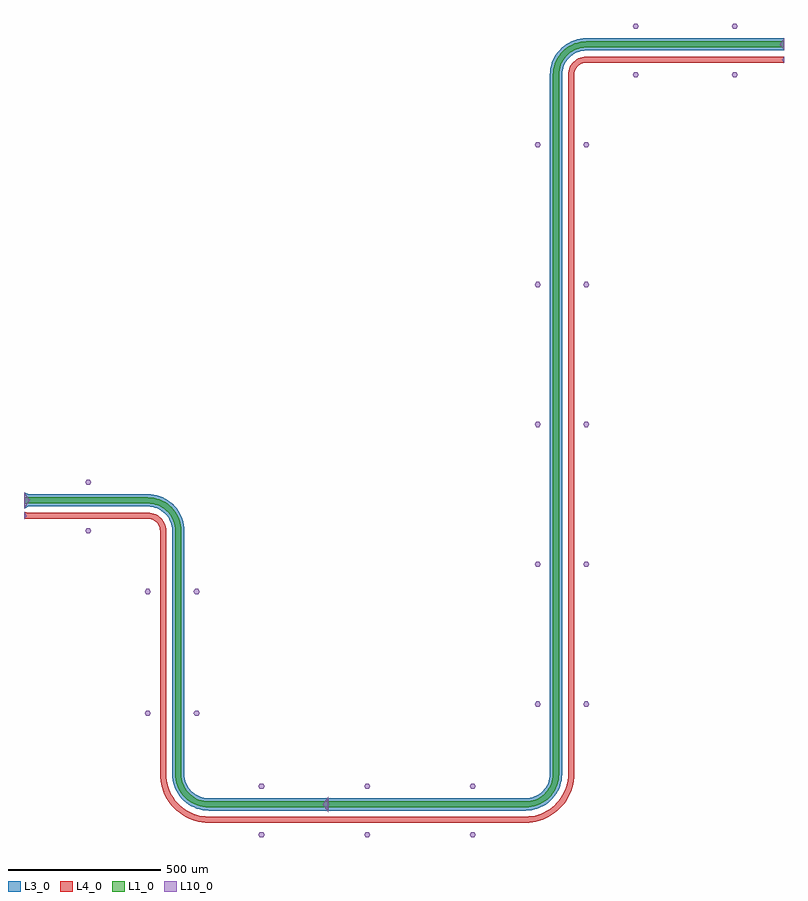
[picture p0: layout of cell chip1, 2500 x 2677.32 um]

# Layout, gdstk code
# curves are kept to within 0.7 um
import gdstk
lib = gdstk.Library(unit=1e-6, precision=1e-09)
def P(c, l, *ps):  # polygons
    for p in ps: c.add(gdstk.Polygon(p, *l))
L1_0 = (1, 0)
L3_0 = (3, 0)
L4_0 = (4, 0)
L10_0 = (10, 0)

chip1 = lib.new_cell('chip1')
P(chip1, L1_0, [(-500,512.5),(-485,510),(-485,490),(-500,487.5)],
  [(-485,510),(-485,490),(-92.5,490),(-75.963,488.468),(-59.988,483.923),(-45.121,476.52),(-38.263,471.822),(-25.989,460.633),(-15.98,447.379),(-11.935,440.116),(-8.577,432.512),(-4.032,416.537),(-2.5,400),(-2.081,-409.587),(1.248,-428.47),(7.806,-446.488),(12.237,-455),(23.235,-470.707),(29.718,-477.782),(36.793,-484.265),(52.5,-495.263),(61.012,-499.694),(79.03,-506.252),(88.399,-508.329),(107.5,-510),(1150,-510),(1169.101,-508.329),(1178.47,-506.252),(1196.488,-499.694),(1205,-495.263),(1220.707,-484.265),(1227.782,-477.782),(1234.265,-470.707),(1245.263,-455),(1249.694,-446.488),(1256.252,-428.47),(1258.329,-419.101),(1260,-400),(1260,1900),(1261.532,1916.537),(1263.436,1924.63),(1266.077,1932.512),(1273.48,1947.379),(1283.489,1960.633),(1289.367,1966.511),(1302.621,1976.52),(1317.488,1983.923),(1333.463,1988.468),(1341.696,1989.616),(2000,1990),(2000,2010),(1340.413,2009.581),(1321.53,2006.252),(1303.512,1999.694),(1295,1995.263),(1279.293,1984.265),(1265.735,1970.707),(1259.893,1963.093),(1250.306,1946.488),(1246.634,1937.622),(1241.671,1919.101),(1240,1900),(1240,-400),(1238.468,-416.537),(1236.564,-424.63),(1233.923,-432.512),(1226.52,-447.379),(1216.511,-460.633),(1210.633,-466.511),(1197.379,-476.52),(1182.512,-483.923),(1174.63,-486.564),(1166.537,-488.468),(1150,-490),(107.5,-490),(90.963,-488.468),(82.87,-486.564),(74.988,-483.923),(60.121,-476.52),(46.867,-466.511),(40.989,-460.633),(30.98,-447.379),(23.577,-432.512),(19.032,-416.537),(17.884,-408.304),(17.5,400),(15.829,419.101),(13.752,428.47),(7.194,446.488),(2.763,455),(-8.235,470.707),(-14.718,477.782),(-21.793,484.265),(-37.5,495.263),(-46.012,499.694),(-64.03,506.252),(-82.913,509.581)])
P(chip1, L3_0, [(-500,527.5),(-485,520),(-485,480),(-500,472.5)],
  [(-485,520),(-485,480),(-84.659,479.615),(-69.277,476.555),(-54.788,470.554),(-48.054,466.518),(-35.931,456.569),(-25.982,444.446),(-21.946,437.712),(-15.945,423.223),(-14.037,415.607),(-12.5,400),(-12.09,-409.91),(-8.828,-429.458),(-5.998,-438.964),(1.963,-457.114),(12.803,-473.706),(19.213,-481.274),(33.794,-494.697),(41.866,-500.46),(50.386,-505.537),(68.536,-513.498),(87.749,-518.363),(107.5,-520),(1150,-520),(1169.751,-518.363),(1188.964,-513.498),(1207.114,-505.537),(1215.634,-500.46),(1223.706,-494.697),(1238.287,-481.274),(1244.697,-473.706),(1255.537,-457.114),(1263.498,-438.964),(1266.328,-429.458),(1269.59,-409.91),(1270,-400),(1270,1900),(1271.537,1915.607),(1273.445,1923.223),(1279.446,1937.712),(1283.482,1944.446),(1293.431,1956.569),(1299.249,1961.841),(1305.554,1966.518),(1319.385,1973.91),(1334.393,1978.463),(1342.159,1979.615),(2000,1980),(2000,2020),(1340.09,2019.59),(1320.542,2016.328),(1301.797,2009.893),(1292.886,2005.537),(1276.294,1994.697),(1268.726,1988.287),(1255.303,1973.706),(1244.463,1957.114),(1236.502,1938.964),(1231.637,1919.751),(1230,1900),(1230,-400),(1228.463,-415.607),(1226.555,-423.223),(1220.554,-437.712),(1216.518,-444.446),(1206.569,-456.569),(1194.446,-466.518),(1187.712,-470.554),(1173.223,-476.555),(1165.607,-478.463),(1150,-480),(107.5,-480),(91.893,-478.463),(84.277,-476.555),(69.788,-470.554),(63.054,-466.518),(50.931,-456.569),(40.982,-444.446),(36.946,-437.712),(30.945,-423.223),(27.885,-407.841),(27.5,400),(27.09,409.91),(23.828,429.458),(20.998,438.964),(13.037,457.114),(2.197,473.706),(-4.213,481.274),(-18.794,494.697),(-35.386,505.537),(-44.297,509.893),(-63.042,516.328),(-72.749,518.363),(-92.5,520)])
P(chip1, L4_0, [(-500,462.5),(-485,460),(-485,440),(-500,437.5)],
  [(-485,460),(-485,440),(-92.5,440),(-81.231,438.38),(-70.874,433.65),(-62.27,426.194),(-56.115,416.617),(-54.12,411.269),(-52.5,400),(-52.092,-411.414),(-50.871,-422.77),(-46.019,-445.077),(-38.041,-466.466),(-27.101,-486.503),(-13.42,-504.778),(2.722,-520.92),(20.997,-534.601),(30.82,-540.429),(51.586,-549.912),(62.423,-553.519),(84.73,-558.371),(107.5,-560),(1150,-560),(1172.77,-558.371),(1195.077,-553.519),(1216.466,-545.541),(1236.503,-534.601),(1254.778,-520.92),(1270.92,-504.778),(1284.601,-486.503),(1290.429,-476.68),(1299.912,-455.914),(1303.519,-445.077),(1308.371,-422.77),(1310,-400),(1310,1900),(1311.62,1911.269),(1316.35,1921.626),(1319.77,1926.194),(1328.374,1933.65),(1338.731,1938.38),(1350,1940),(2000,1940),(2000,1960),(1343.282,1959.623),(1330.183,1956.633),(1323.967,1954.058),(1312.591,1946.91),(1303.09,1937.409),(1295.942,1926.033),(1293.367,1919.817),(1290.377,1906.718),(1290,1900),(1290,-400),(1289.609,-410.462),(1286.49,-431.153),(1280.322,-451.148),(1271.244,-470),(1259.456,-487.289),(1252.627,-495.224),(1237.289,-509.456),(1220,-521.244),(1201.148,-530.322),(1181.153,-536.49),(1160.462,-539.609),(1150,-540),(107.5,-540),(97.038,-539.609),(76.347,-536.49),(56.352,-530.322),(37.5,-521.244),(20.211,-509.456),(12.276,-502.627),(-1.956,-487.289),(-13.744,-470),(-18.636,-460.744),(-26.28,-441.266),(-28.99,-431.153),(-32.109,-410.462),(-32.5,400),(-34.004,413.351),(-38.442,426.033),(-45.59,437.409),(-55.091,446.91),(-66.467,454.058),(-72.683,456.633),(-85.782,459.623)])
P(chip1, L10_0, [(-500,512.5),(-491.667,500),(-500,487.5)],
  [(-500,527.5),(-481.667,500),(-500,472.5)],
  [(-500,462.5),(-491.667,450),(-500,437.5)],
  [(500,-525),(483.333,-500),(500,-475)],
  [(2000,1990),(1993.333,2000),(2000,2010)],
  [(2000,1980),(1986.667,2000),(2000,2020)],
  [(2000,1940),(1993.333,1950),(2000,1960)],
  [(-278.75,560),(-283.75,568.66),(-293.75,568.66),(-298.75,560),(-293.75,551.34),(-283.75,551.34)],
  [(-278.75,400),(-283.75,408.66),(-293.75,408.66),(-298.75,400),(-293.75,391.34),(-283.75,391.34)],
  [(77.5,200),(72.5,208.66),(62.5,208.66),(57.5,200),(62.5,191.34),(72.5,191.34)],
  [(-82.5,200),(-87.5,208.66),(-97.5,208.66),(-102.5,200),(-97.5,191.34),(-87.5,191.34)],
  [(77.5,-200),(72.5,-191.34),(62.5,-191.34),(57.5,-200),(62.5,-208.66),(72.5,-208.66)],
  [(-82.5,-200),(-87.5,-191.34),(-97.5,-191.34),(-102.5,-200),(-97.5,-208.66),(-87.5,-208.66)],
  [(291.25,-440),(286.25,-431.34),(276.25,-431.34),(271.25,-440),(276.25,-448.66),(286.25,-448.66)],
  [(291.25,-600),(286.25,-591.34),(276.25,-591.34),(271.25,-600),(276.25,-608.66),(286.25,-608.66)],
  [(638.75,-440),(633.75,-431.34),(623.75,-431.34),(618.75,-440),(623.75,-448.66),(633.75,-448.66)],
  [(638.75,-600),(633.75,-591.34),(623.75,-591.34),(618.75,-600),(623.75,-608.66),(633.75,-608.66)],
  [(986.25,-440),(981.25,-431.34),(971.25,-431.34),(966.25,-440),(971.25,-448.66),(981.25,-448.66)],
  [(986.25,-600),(981.25,-591.34),(971.25,-591.34),(966.25,-600),(971.25,-608.66),(981.25,-608.66)],
  [(1200,-170),(1195,-161.34),(1185,-161.34),(1180,-170),(1185,-178.66),(1195,-178.66)],
  [(1360,-170),(1355,-161.34),(1345,-161.34),(1340,-170),(1345,-178.66),(1355,-178.66)],
  [(1200,290),(1195,298.66),(1185,298.66),(1180,290),(1185,281.34),(1195,281.34)],
  [(1360,290),(1355,298.66),(1345,298.66),(1340,290),(1345,281.34),(1355,281.34)],
  [(1200,750),(1195,758.66),(1185,758.66),(1180,750),(1185,741.34),(1195,741.34)],
  [(1360,750),(1355,758.66),(1345,758.66),(1340,750),(1345,741.34),(1355,741.34)],
  [(1200,1210),(1195,1218.66),(1185,1218.66),(1180,1210),(1185,1201.34),(1195,1201.34)],
  [(1360,1210),(1355,1218.66),(1345,1218.66),(1340,1210),(1345,1201.34),(1355,1201.34)],
  [(1200,1670),(1195,1678.66),(1185,1678.66),(1180,1670),(1185,1661.34),(1195,1661.34)],
  [(1360,1670),(1355,1678.66),(1345,1678.66),(1340,1670),(1345,1661.34),(1355,1661.34)],
  [(1522.5,2060),(1517.5,2068.66),(1507.5,2068.66),(1502.5,2060),(1507.5,2051.34),(1517.5,2051.34)],
  [(1522.5,1900),(1517.5,1908.66),(1507.5,1908.66),(1502.5,1900),(1507.5,1891.34),(1517.5,1891.34)],
  [(1847.5,2060),(1842.5,2068.66),(1832.5,2068.66),(1827.5,2060),(1832.5,2051.34),(1842.5,2051.34)],
  [(1847.5,1900),(1842.5,1908.66),(1832.5,1908.66),(1827.5,1900),(1832.5,1891.34),(1842.5,1891.34)])

lib.write_gds('chip1.gds')
